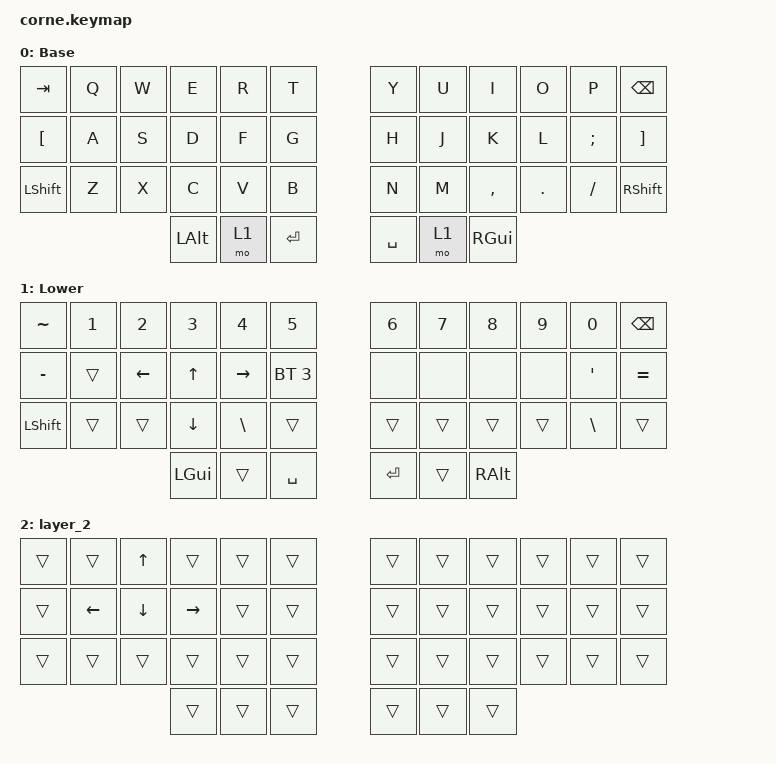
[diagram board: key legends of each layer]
/*
 * Copyright (c) 2020 The ZMK Contributors
 *
 * SPDX-License-Identifier: MIT
 */

#include <behaviors.dtsi>
#include <dt-bindings/zmk/bt.h>
#include <dt-bindings/zmk/keys.h>

/ {
    keymap {
        compatible = "zmk,keymap";

        default_layer {
            // -----------------------------------------------------------------------------------------
            // |  TAB |  Q  |  W  |  E  |  R  |  T  |   |  Y  |  U   |  I  |  O  |  P  | BKSP |
            // | CTRL |  A  |  S  |  D  |  F  |  G  |   |  H  |  J   |  K  |  L  |  ;  |  '   |
            // | SHFT |  Z  |  X  |  C  |  V  |  B  |   |  N  |  M   |  ,  |  .  |  /  | ESC  |
            //                    | GUI | LWR | SPC |   | ENT | RSE  | ALT |

            label = "Base";
            bindings = <
         &kp TAB  &kp Q  &kp W     &kp E  &kp R    &kp T        &kp Y  &kp U      &kp I    &kp O     &kp P           &kp BSPC
&kp LEFT_BRACKET  &kp A  &kp S     &kp D  &kp F    &kp G        &kp H  &kp J      &kp K    &kp L  &kp SEMI  &kp RIGHT_BRACKET
       &kp LSHFT  &kp Z  &kp X     &kp C  &kp V    &kp B        &kp N  &kp M  &kp COMMA  &kp DOT  &kp FSLH          &kp RSHFT
                                &kp LALT  &mo 1  &kp RET    &kp SPACE  &mo 1   &kp RGUI
            >;
        };

        lower_layer {
            // -----------------------------------------------------------------------------------------
            // |  TAB |  1  |  2  |  3  |  4  |  5  |   |  6  |  7  |  8  |  9  |  0  | BKSP |
            // | BTCLR| BT1 | BT2 | BT3 | BT4 | BT5 |   | LFT | DWN |  UP | RGT |     |      |
            // | SHFT |     |     |     |     |     |   |     |     |     |     |     |      |
            //                    | GUI |     | SPC |   | ENT |     | ALT |

            label = "Lower";
            bindings = <
&kp TILDE  &kp N1          &kp N2        &kp N3         &kp N4        &kp N5     &kp N6  &kp N7    &kp N8  &kp N9            &kp N0   &kp BSPC
&kp MINUS  &trans  &kp LEFT_ARROW  &kp UP_ARROW      &kp RIGHT  &bt BT_SEL 3      &none   &none     &none   &none  &kp SINGLE_QUOTE  &kp EQUAL
&kp LSHFT  &trans          &trans      &kp DOWN  &kp BACKSLASH        &trans     &trans  &trans    &trans  &trans     &kp BACKSLASH     &trans
                                       &kp LGUI         &trans     &kp SPACE    &kp RET  &trans  &kp RALT
            >;
        };

        layer_2 {
            bindings = <
&trans    &trans    &kp UP     &trans  &trans  &trans    &trans  &trans  &trans  &trans  &trans  &trans
&trans  &kp LEFT  &kp DOWN  &kp RIGHT  &trans  &trans    &trans  &trans  &trans  &trans  &trans  &trans
&trans    &trans    &trans     &trans  &trans  &trans    &trans  &trans  &trans  &trans  &trans  &trans
                               &trans  &trans  &trans    &trans  &trans  &trans
            >;
        };
    };
};
